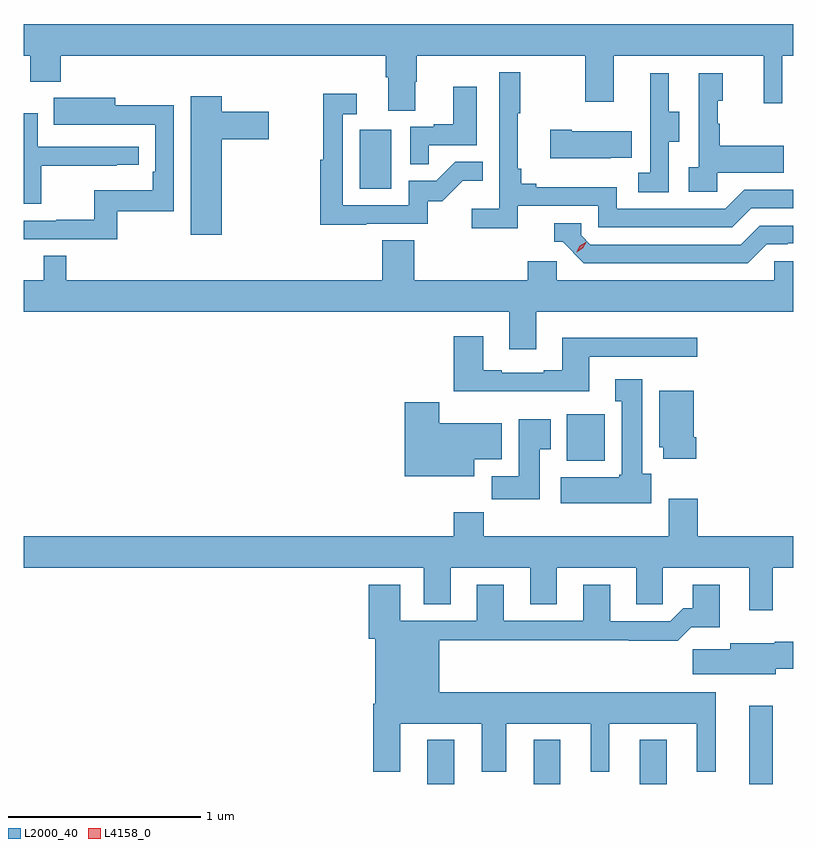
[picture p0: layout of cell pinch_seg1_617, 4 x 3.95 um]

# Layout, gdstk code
import gdstk
lib = gdstk.Library(unit=1e-6, precision=1e-09)
def R(c, l, rs):  # rectangles x0, y0, x1, y1
    for r in rs: c.add(gdstk.rectangle(r[:2], r[2:], *l))
def A(c, l, x, y, w, h, nx, ny, dx, dy):  # array of equal rectangles
    R(c, l, [(x+i*dx, y+j*dy, x+i*dx+w, y+j*dy+h) for i in range(nx) for j in range(ny)])
def P(c, l, *ps):  # polygons
    for p in ps: c.add(gdstk.Polygon(p, *l))
L2000_40 = (2000, 40)
L4158_0 = (4158, 0)

pinch_seg1_617 = lib.new_cell('pinch_seg1_617')
A(pinch_seg1_617, L2000_40, 1107.617, 514.644, 0.14, 0.229, 3, 1, 0.552, 0)
R(pinch_seg1_617, L2000_40, [(1109.291,514.644,1109.413,515.05), (1108.343,516.326,1108.54,516.568), (1107.266,517.74,1107.43,518.047)])
P(pinch_seg1_617, L2000_40, [(1107.553,518.295),(1107.561,518.295),(1107.561,518.432),(1108.438,518.432),(1108.438,518.193),(1108.585,518.193),(1108.585,518.432),(1109.366,518.432),(1109.366,518.184),(1109.463,518.184),(1109.463,518.432),(1109.519,518.432),(1109.519,518.596),(1105.519,518.596),(1105.519,518.432),(1105.552,518.432),(1105.552,518.297),(1105.712,518.297),(1105.712,518.432),(1107.401,518.432),(1107.401,518.32),(1107.413,518.32),(1107.413,518.146),(1107.553,518.146)],
  [(1108.088,517.65),(1108.506,517.65),(1108.506,517.539),(1109.203,517.539),(1109.302,517.638),(1109.519,517.638),(1109.519,517.734),(1109.265,517.734),(1109.166,517.635),(1108.602,517.635),(1108.602,517.747),(1108.183,517.747),(1108.183,517.766),(1108.106,517.766),(1108.106,517.843),(1108.087,517.843),(1108.087,518.131),(1108.099,518.131),(1108.099,518.344),(1107.99,518.344),(1107.99,517.636),(1107.849,517.636),(1107.849,517.534),(1108.088,517.534)],
  [(1109.124,517.823),(1109.471,517.823),(1109.471,517.963),(1109.137,517.963),(1109.137,518.078),(1109.127,518.078),(1109.127,518.196),(1109.152,518.196),(1109.152,518.341),(1109.028,518.341),(1109.028,517.85),(1108.977,517.85),(1108.977,517.725),(1109.124,517.725)],
  [(1108.872,517.984),(1108.927,517.984),(1108.927,518.139),(1108.873,518.139),(1108.873,518.341),(1108.775,518.341),(1108.775,518.127),(1108.776,518.127),(1108.776,517.823),(1108.713,517.823),(1108.713,517.72),(1108.872,517.72)],
  [(1107.623,517.965),(1107.874,517.965),(1107.874,518.269),(1107.752,518.269),(1107.752,518.074),(1107.649,518.074),(1107.649,518.061),(1107.528,518.061),(1107.528,517.867),(1107.623,517.867)],
  [(1107.299,517.557),(1107.618,517.557),(1107.618,517.674),(1107.694,517.674),(1107.801,517.781),(1107.905,517.781),(1107.905,517.88),(1107.762,517.88),(1107.664,517.782),(1107.519,517.782),(1107.519,517.653),(1107.177,517.653),(1107.177,518.127),(1107.25,518.127),(1107.25,518.233),(1107.076,518.233),(1107.076,517.89),(1107.061,517.89),(1107.061,517.552),(1107.299,517.552)],
  [(1106.548,517.996),(1106.791,517.996),(1106.791,518.139),(1106.548,518.139),(1106.548,518.221),(1106.387,518.221),(1106.387,517.5),(1106.548,517.5)],
  [(1106.005,517.623),(1106.298,517.623),(1106.298,518.174),(1105.993,518.174),(1105.993,518.212),(1105.675,518.212),(1105.675,518.072),(1105.889,518.072),(1105.889,518.073),(1106.202,518.073),(1106.202,517.828),(1106.189,517.828),(1106.189,517.732),(1105.884,517.732),(1105.884,517.577),(1105.687,517.577),(1105.687,517.572),(1105.519,517.572),(1105.519,517.476),(1106.005,517.476)],
  [(1105.61,517.858),(1106.003,517.858),(1106.003,517.863),(1106.116,517.863),(1106.116,517.959),(1105.59,517.959),(1105.59,518.131),(1105.519,518.131),(1105.519,517.662),(1105.61,517.662)],
  [(1108.571,517.901),(1108.679,517.901),(1108.679,518.038),(1108.369,518.038),(1108.369,518.046),(1108.257,518.046),(1108.257,517.898),(1108.571,517.898)],
  [(1109.383,517.452),(1109.49,517.452),(1109.49,517.455),(1109.519,517.455),(1109.519,517.548),(1109.346,517.548),(1109.247,517.449),(1108.464,517.449),(1108.416,517.497),(1108.416,517.56),(1108.277,517.56),(1108.277,517.464),(1108.32,517.464),(1108.431,517.353),(1109.284,517.353)],
  [(1108.183,517.1),(1109.519,517.1),(1109.519,517.362),(1109.421,517.362),(1109.421,517.264),(1108.29,517.264),(1108.29,517.362),(1108.139,517.362),(1108.139,517.264),(1107.548,517.264),(1107.548,517.472),(1107.383,517.472),(1107.383,517.264),(1105.739,517.264),(1105.739,517.391),(1105.623,517.391),(1105.623,517.264),(1105.519,517.264),(1105.519,517.1),(1108.043,517.1),(1108.043,516.906),(1108.183,516.906)],
  [(1108.459,516.867),(1109.02,516.867),(1109.02,516.964),(1108.319,516.964),(1108.319,516.796),(1108.223,516.796),(1108.223,516.783),(1108.003,516.783),(1108.003,516.796),(1107.907,516.796),(1107.907,516.972),(1107.755,516.972),(1107.755,516.686),(1108.459,516.686)],
  [(1108.78,516.258),(1108.735,516.258),(1108.735,516.748),(1108.595,516.748),(1108.595,516.635),(1108.628,516.635),(1108.628,516.252),(1108.615,516.252),(1108.615,516.238),(1108.311,516.238),(1108.311,516.104),(1108.78,516.104)],
  [(1109.015,516.448),(1109.002,516.448),(1109.002,516.688),(1108.823,516.688),(1108.823,516.396),(1108.844,516.396),(1108.844,516.336),(1109.015,516.336)],
  [(1107.862,516.332),(1108.003,516.332),(1108.003,516.52),(1107.678,516.52),(1107.678,516.628),(1107.5,516.628),(1107.5,516.245),(1107.862,516.245)],
  [(1108.201,516.385),(1108.258,516.385),(1108.258,516.541),(1108.091,516.541),(1108.091,516.244),(1107.952,516.244),(1107.952,516.126),(1108.201,516.126)],
  [(1109.413,515.768),(1109.519,515.768),(1109.519,515.932),(1109.024,515.932),(1109.024,516.127),(1108.871,516.127),(1108.871,515.932),(1107.911,515.932),(1107.911,516.056),(1107.755,516.056),(1107.755,515.932),(1105.519,515.932),(1105.519,515.768),(1107.599,515.768),(1107.599,515.578),(1107.739,515.578),(1107.739,515.768),(1108.151,515.768),(1108.151,515.578),(1108.291,515.578),(1108.291,515.768),(1108.703,515.768),(1108.703,515.578),(1108.842,515.578),(1108.842,515.768),(1109.291,515.768),(1109.291,515.547),(1109.413,515.547)],
  [(1107.475,514.958),(1107.899,514.958),(1107.899,514.707),(1108.027,514.707),(1108.027,514.958),(1108.466,514.958),(1108.466,514.707),(1108.564,514.707),(1108.564,514.958),(1109.018,514.958),(1109.018,514.707),(1109.116,514.707),(1109.116,515.122),(1107.679,515.122),(1107.679,515.392),(1108.663,515.392),(1108.663,515.39),(1108.919,515.39),(1108.988,515.459),(1109.137,515.459),(1109.137,515.68),(1108.997,515.68),(1108.997,515.557),(1108.948,515.557),(1108.881,515.49),(1108.567,515.49),(1108.567,515.68),(1108.427,515.68),(1108.427,515.493),(1108.015,515.493),(1108.015,515.68),(1107.875,515.68),(1107.875,515.493),(1107.475,515.493),(1107.475,515.68),(1107.311,515.68),(1107.311,515.4),(1107.347,515.4),(1107.347,515.062),(1107.335,515.062),(1107.335,514.707),(1107.475,514.707)],
  [(1109.428,515.243),(1109.519,515.243),(1109.519,515.385),(1109.424,515.385),(1109.424,515.377),(1109.192,515.377),(1109.192,515.345),(1108.998,515.345),(1108.998,515.216),(1109.428,515.216)])
P(pinch_seg1_617, L4158_0, [(1108.393,517.41),(1108.393,517.411),(1108.41,517.443),(1108.441,517.462),(1108.442,517.462),(1108.442,517.461),(1108.425,517.429),(1108.394,517.41)])

lib.write_gds('pinch_seg1_617.gds')
